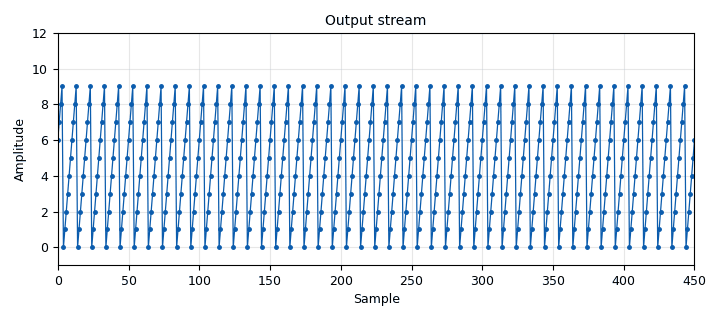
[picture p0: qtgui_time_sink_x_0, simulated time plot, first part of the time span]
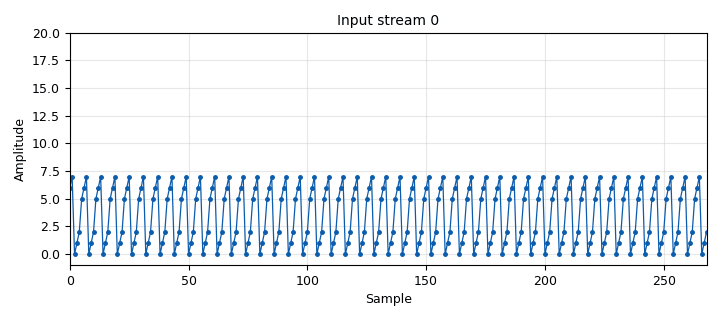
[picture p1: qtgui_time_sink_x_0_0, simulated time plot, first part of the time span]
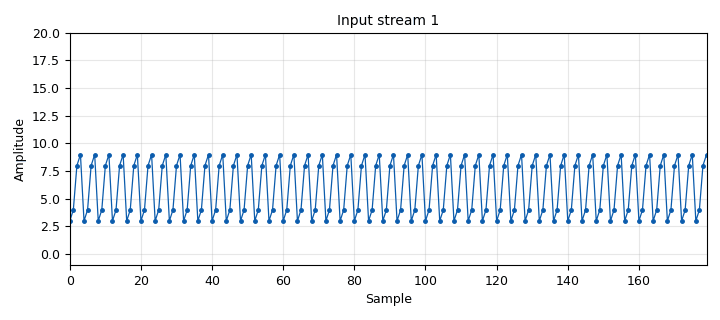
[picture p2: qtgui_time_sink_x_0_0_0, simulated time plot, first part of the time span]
options:
  parameters:
    author: David Pi
    copyright: GNU GPL 3.0+
    description: Adapted from GNU Radio's own example (gr-blocks/examples/stream_mux_demo.grc).
    generate_options: qt_gui
    id: stream_mux_demo
    output_language: python
    title: Stream Mux demo
  states: {}

blocks:
- name: samp_rate
  id: variable
  parameters:
    value: '32000'
  states: {}
- name: tag0
  id: variable_tag_object
  parameters:
    key: pmt.intern("key0")
    offset: '0'
    src: pmt.intern("src")
    value: pmt.intern("value0")
  states: {}
- name: tag1
  id: variable_tag_object
  parameters:
    key: pmt.intern("key1")
    offset: '0'
    src: pmt.intern("src")
    value: pmt.intern("value1")
  states: {}
- name: blocks_stream_mux_0
  id: blocks_stream_mux
  parameters:
    lengths: '[3, 2]'
    type: float
  states: {}
- name: blocks_throttle2_0
  id: blocks_throttle2
  parameters:
    samples_per_second: samp_rate
    type: float
  states: {}
- name: blocks_vector_source_x_0
  id: blocks_vector_source_x
  parameters:
    repeat: 'True'
    tags: '[tag0]'
    type: float
    vector: (0, 1, 2, 5, 6, 7)
  states: {}
- name: blocks_vector_source_x_0_0
  id: blocks_vector_source_x
  parameters:
    repeat: 'True'
    tags: '[tag1]'
    type: float
    vector: (3, 4, 8, 9)
  states: {}
- name: qtgui_time_sink_x_0
  id: qtgui_time_sink_x
  parameters:
    grid: 'True'
    gui_hint: 1,0,1,2
    marker1: '0'
    name: '"Output stream"'
    size: '1024'
    type: float
    ymax: '12'
    samp_rate: samp_rate
  states: {}
- name: qtgui_time_sink_x_0_0
  id: qtgui_time_sink_x
  parameters:
    grid: 'True'
    gui_hint: 0,0,1,1
    marker1: '0'
    name: '"Input stream 0"'
    size: '1024'
    type: float
    ymax: '20'
    samp_rate: samp_rate
  states: {}
- name: qtgui_time_sink_x_0_0_0
  id: qtgui_time_sink_x
  parameters:
    grid: 'True'
    gui_hint: 0,1,1,1
    marker1: '0'
    name: '"Input stream 1"'
    size: '1024'
    type: float
    ymax: '20'
    samp_rate: samp_rate
  states: {}

connections:
- [blocks_stream_mux_0, '0', blocks_throttle2_0, '0']
- [blocks_throttle2_0, '0', qtgui_time_sink_x_0, '0']
- [blocks_vector_source_x_0, '0', blocks_stream_mux_0, '0']
- [blocks_vector_source_x_0, '0', qtgui_time_sink_x_0_0, '0']
- [blocks_vector_source_x_0_0, '0', blocks_stream_mux_0, '1']
- [blocks_vector_source_x_0_0, '0', qtgui_time_sink_x_0_0_0, '0']

metadata:
  file_format: 1
  grc_version: 3.10.10.0
